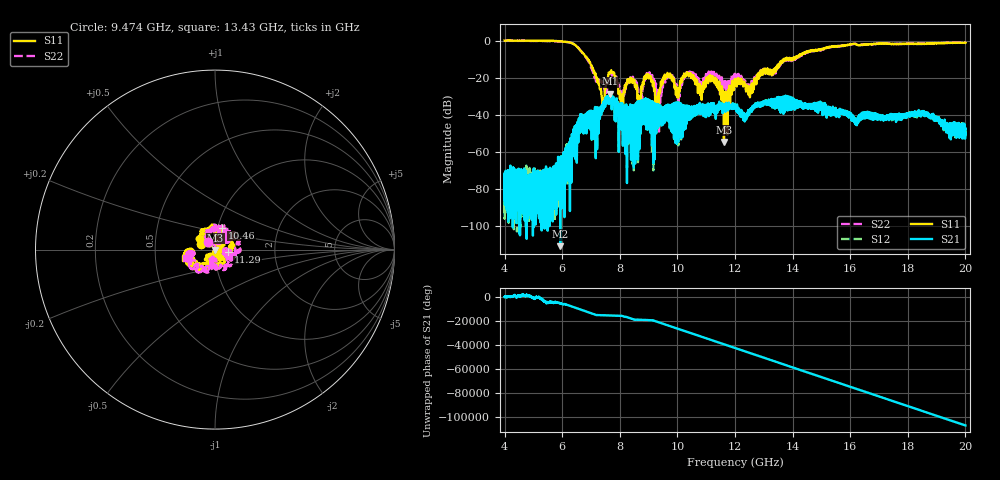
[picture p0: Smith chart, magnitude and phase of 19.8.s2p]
[Version] 2.0
! Rohde & Schwarz Vector Network Analyzer
! Rohde-Schwarz,ZNL20-2Port,1323001220200009,1.71.1.10-23.02.1.238
! Port Assignments:
! Nominal Port -> Actual Test Port
!  1 -> 1
!  2 -> 2
! Created: GMT+2 2025-01-16 20:27:36
# Hz S RI R 50
[Number of Ports] 2
[Two-Port Data Order] 21_12
! freq[Hz]  S11[Re]  S11[Im]  S21[Re]  S21[Im]  S12[Re]  S12[Im]  S22[Re]  S22[Im]
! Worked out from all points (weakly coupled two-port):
!   16001 points, 4 GHz to 20 GHz, reference 50 ohm
!   highest |S21| = -28.67 dB at 7.652 GHz (marker M1); lowest = -111.0 dB at 5.931 GHz (marker M2)
!   lowest |S11| = -54.7 dB at 11.62 GHz (marker M3), VSWR 1.00, Z = 50.1 - j0.138 ohm
!   |S11| at or under -10 dB: 6.887 GHz to 13.7 GHz (6.814 GHz wide, 66.2 % of centre); 13.7151 GHz to 13.7436 GHz (28.49 MHz wide, 0.208 % of centre); 13.94332 GHz to 13.96748 GHz (24.17 MHz wide, 0.173 % of centre) (the widest 3 of 9)
!   |S22| runs from -49.1 to 0.0 dB; largest |S21 - S12| = 0.0025
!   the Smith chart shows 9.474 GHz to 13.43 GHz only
!   S11 on the Smith chart (normalised r, x): 9.474 GHz: 0.85, +0.06; 10.46 GHz: 1.05, +0.26; 11.29 GHz: 1.16, -0.04; 13.43 GHz: 0.71, -0.07
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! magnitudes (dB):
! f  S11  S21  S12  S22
! 4 GHz  0.0  -72.6  -78.9  -0.2
! 5.931 GHz  -0.5  -111.0  -75.2  -0.7
! 6.667 GHz  -6.0  -40.8  -40.4  -6.0
! 7.395 GHz  -33.1  -37.7  -37.6  -23.1
! 7.652 GHz  -17.5  -28.7  -28.6  -19.8
! 8.044 GHz  -37.3  -35.5  -35.4  -30.2
! 8.43 GHz  -22.8  -41.2  -41.0  -21.6
! 8.718 GHz  -34.1  -39.4  -39.6  -38.1
! 9.006 GHz  -20.4  -34.3  -34.3  -18.8
! 9.334 GHz  -28.2  -34.6  -34.4  -32.1
! 9.474 GHz  -21.4  -36.3  -36.2  -25.0
! 9.764 GHz  -19.6  -35.1  -35.2  -19.8
! 10.01 GHz  -25.9  -33.5  -33.6  -27.2
! 10.46 GHz  -17.7  -41.8  -41.9  -17.3
! 10.78 GHz  -23.7  -33.8  -33.8  -21.3
! 11.29 GHz  -22.6  -39.3  -39.0  -19.0
! 11.62 GHz  -54.7  -35.2  -35.0  -24.1
! 12 GHz  -21.4  -36.3  -36.3  -19.0
! 13.43 GHz  -15.3  -33.5  -33.5  -15.5
! 14.67 GHz  -5.5  -34.6  -34.4  -5.8
! 17.33 GHz  -1.8  -40.6  -40.8  -1.8
! 20 GHz  -1.2  -47.7  -48.7  -1.1
